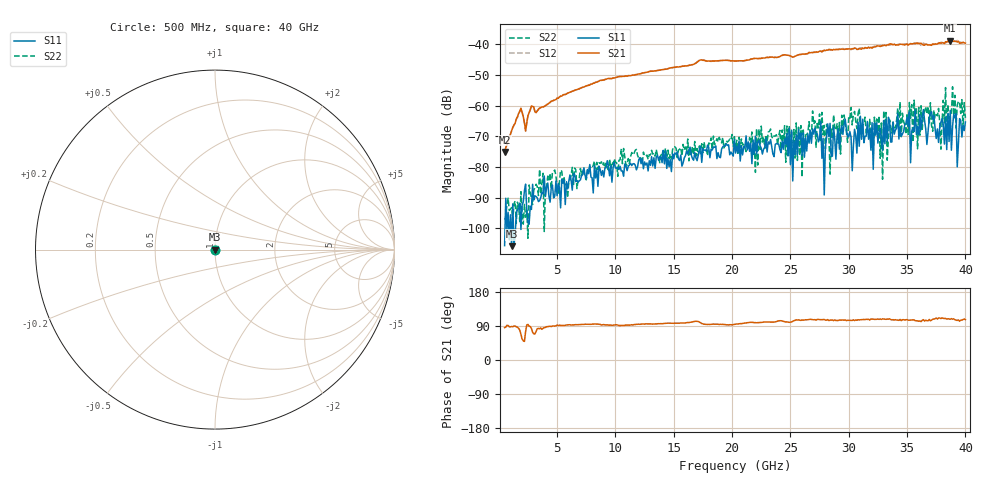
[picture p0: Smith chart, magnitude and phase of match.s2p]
!Keysight Technologies,N5247B,MY61255062,A.15.50.07
!Date: Wednesday, February 12, 2025 16:38:20
!Correction: S11(C  2-Port  )
!S21(C  2-Port  )
!S12(C  2-Port  )
!S22(C  2-Port  )
!S2P File: Measurements: S11, S21, S12, S22:
# Hz S  MA  R 50
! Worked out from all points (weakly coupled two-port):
!   396 points, 500 MHz to 40 GHz, reference 50 ohm
!   highest |S21| = -38.84 dB at 38.7 GHz (marker M1); lowest = -75.2 dB at 500 MHz (marker M2)
!   lowest |S11| = -105.8 dB at 1.1 GHz (marker M3), VSWR 1.00, Z = 50 + j0.000409 ohm
!   |S11| at or under -10 dB: start of sweep to end of sweep
!   |S22| runs from -103.3 to -53.9 dB; largest |S21 - S12| = 0.0012
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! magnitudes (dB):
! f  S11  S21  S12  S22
! 500 MHz  -105.7  -75.2  -74.9  -97.2
! 1.1 GHz  -105.8  -68.2  -68.2  -93.3
! 7.1 GHz  -82.9  -54.1  -54.2  -82.9
! 13.7 GHz  -77.8  -48.5  -48.5  -76.5
! 20.3 GHz  -75.5  -45.5  -45.4  -73.9
! 25.5 GHz  -69.6  -43.7  -43.7  -65.6
! 26 GHz  -76.3  -43.2  -43.2  -83.4
! 26.9 GHz  -67.6  -42.8  -42.6  -61.7
! 28.4 GHz  -65.8  -41.8  -41.7  -82.3
! 28.7 GHz  -66.9  -41.7  -41.7  -63.0
! 32.6 GHz  -68.4  -40.6  -40.7  -63.3
! 32.9 GHz  -74.6  -40.4  -40.5  -84.0
! 33 GHz  -64.9  -40.4  -40.3  -61.7
! 33.3 GHz  -71.6  -40.2  -40.2  -77.8
! 33.5 GHz  -65.2  -39.9  -40.3  -64.6
! 35.2 GHz  -62.0  -40.0  -39.7  -59.0
! 35.3 GHz  -78.6  -39.9  -39.8  -64.1
! 35.7 GHz  -61.5  -39.8  -39.6  -63.2
! 38.7 GHz  -61.5  -38.8  -39.0  -63.6
! 39.2 GHz  -62.7  -39.0  -39.1  -67.4
! 39.3 GHz  -80.0  -39.3  -38.8  -59.8
! 40 GHz  -65.3  -39.6  -39.4  -64.0
